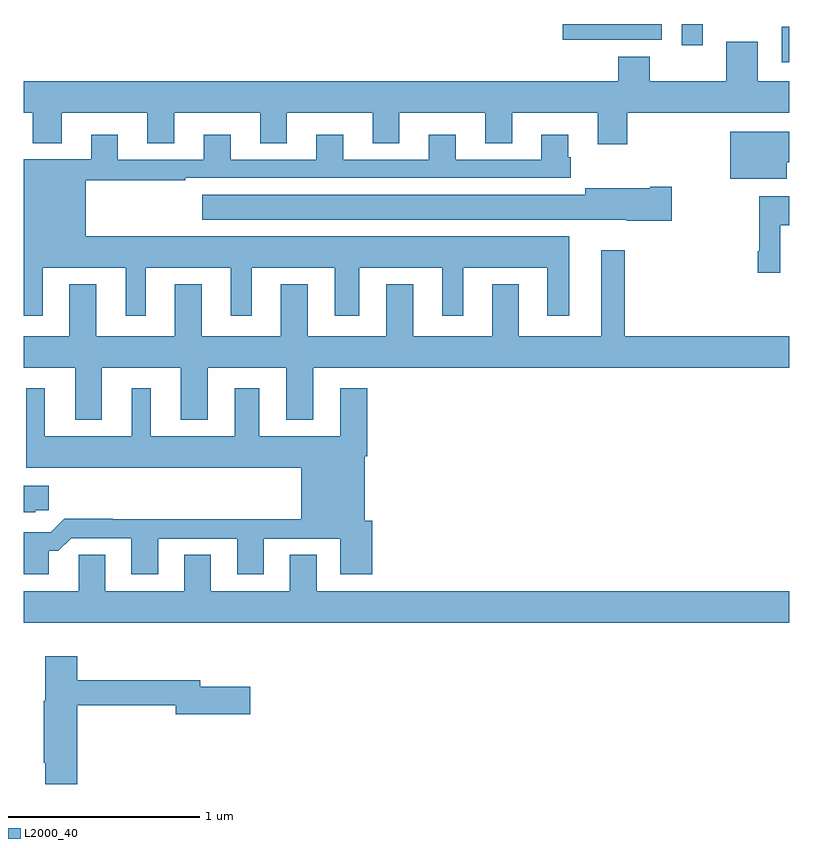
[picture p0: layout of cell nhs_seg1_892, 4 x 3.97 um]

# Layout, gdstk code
import gdstk
lib = gdstk.Library(unit=1e-6, precision=1e-09)
def R(c, l, rs):  # rectangles x0, y0, x1, y1
    for r in rs: c.add(gdstk.rectangle(r[:2], r[2:], *l))
def P(c, l, *ps):  # polygons
    for p in ps: c.add(gdstk.Polygon(p, *l))
L2000_40 = (2000, 40)

nhs_seg1_892 = lib.new_cell('nhs_seg1_892')
R(nhs_seg1_892, L2000_40, [(162.959,547.998,163,548.184), (162.437,548.088,162.546,548.199), (161.817,548.118,162.333,548.199)])
P(nhs_seg1_892, L2000_40, [(162.152,547.736),(163,547.736),(163,547.9),(162.835,547.9),(162.835,548.107),(162.671,548.107),(162.671,547.9),(162.271,547.9),(162.271,548.029),(162.107,548.029),(162.107,547.9),(159,547.9),(159,547.736),(159.047,547.736),(159.047,547.577),(159.199,547.577),(159.199,547.736),(159.647,547.736),(159.647,547.576),(159.787,547.576),(159.787,547.736),(160.235,547.736),(160.235,547.576),(160.375,547.576),(160.375,547.736),(160.823,547.736),(160.823,547.576),(160.963,547.576),(160.963,547.736),(161.411,547.736),(161.411,547.576),(161.551,547.576),(161.551,547.736),(161.999,547.736),(161.999,547.572),(162.152,547.572)],
  [(162.985,547.478),(163,547.478),(163,547.636),(162.692,547.636),(162.692,547.391),(162.985,547.391)],
  [(159.1,546.926),(159.533,546.926),(159.533,546.675),(159.637,546.675),(159.637,546.926),(160.082,546.926),(160.082,546.675),(160.192,546.675),(160.192,546.926),(160.625,546.926),(160.625,546.675),(160.753,546.675),(160.753,546.926),(161.186,546.926),(161.186,546.675),(161.296,546.675),(161.296,546.926),(161.735,546.926),(161.735,546.675),(161.851,546.675),(161.851,547.09),(159.325,547.09),(159.325,547.383),(159.845,547.383),(159.845,547.395),(161.858,547.395),(161.858,547.503),(161.845,547.503),(161.845,547.621),(161.705,547.621),(161.705,547.491),(161.257,547.491),(161.257,547.621),(161.117,547.621),(161.117,547.491),(160.669,547.491),(160.669,547.621),(160.529,547.621),(160.529,547.491),(160.081,547.491),(160.081,547.621),(159.941,547.621),(159.941,547.491),(159.493,547.491),(159.493,547.621),(159.353,547.621),(159.353,547.492),(159,547.492),(159,546.675),(159.1,546.675)],
  [(162.385,547.35),(162.272,547.35),(162.272,547.342),(161.933,547.342),(161.933,547.306),(159.933,547.306),(159.933,547.178),(162.15,547.178),(162.15,547.172),(162.385,547.172)],
  [(162.953,547.148),(163,547.148),(163,547.3),(162.843,547.3),(162.843,547.012),(162.835,547.012),(162.835,546.9),(162.953,546.9)],
  [(159.409,546.404),(159.821,546.404),(159.821,546.131),(159.961,546.131),(159.961,546.404),(160.373,546.404),(160.373,546.131),(160.513,546.131),(160.513,546.404),(163,546.404),(163,546.568),(162.139,546.568),(162.139,547.018),(162.017,547.018),(162.017,546.568),(161.587,546.568),(161.587,546.841),(161.447,546.841),(161.447,546.568),(161.035,546.568),(161.035,546.841),(160.895,546.841),(160.895,546.568),(160.483,546.568),(160.483,546.841),(160.343,546.841),(160.343,546.568),(159.931,546.568),(159.931,546.841),(159.791,546.841),(159.791,546.568),(159.379,546.568),(159.379,546.841),(159.239,546.841),(159.239,546.568),(159,546.568),(159,546.404),(159.269,546.404),(159.269,546.131),(159.409,546.131)],
  [(159.133,545.447),(159.182,545.447),(159.249,545.514),(159.563,545.514),(159.563,545.325),(159.703,545.325),(159.703,545.511),(160.115,545.511),(160.115,545.325),(160.255,545.325),(160.255,545.511),(160.655,545.511),(160.655,545.325),(160.82,545.325),(160.82,545.604),(160.783,545.604),(160.783,545.942),(160.796,545.942),(160.796,546.298),(160.655,546.298),(160.655,546.046),(160.231,546.046),(160.231,546.298),(160.103,546.298),(160.103,546.046),(159.664,546.046),(159.664,546.298),(159.566,546.298),(159.566,546.046),(159.112,546.046),(159.112,546.298),(159.014,546.298),(159.014,545.882),(160.451,545.882),(160.451,545.612),(159.467,545.612),(159.467,545.615),(159.212,545.615),(159.141,545.544),(159,545.544),(159,545.325),(159.133,545.325)],
  [(159.06,545.659),(159.133,545.659),(159.133,545.788),(159,545.788),(159,545.648),(159.06,545.648)],
  [(163,545.236),(160.531,545.236),(160.531,545.426),(160.391,545.426),(160.391,545.236),(159.979,545.236),(159.979,545.426),(159.839,545.426),(159.839,545.236),(159.427,545.236),(159.427,545.426),(159.288,545.426),(159.288,545.236),(159,545.236),(159,545.072),(163,545.072)],
  [(159.281,544.642),(159.794,544.642),(159.794,544.595),(160.183,544.595),(160.183,544.737),(159.922,544.737),(159.922,544.771),(159.281,544.771),(159.281,544.897),(159.113,544.897),(159.113,544.665),(159.106,544.665),(159.106,544.342),(159.113,544.342),(159.113,544.23),(159.281,544.23)])

lib.write_gds('nhs_seg1_892.gds')
